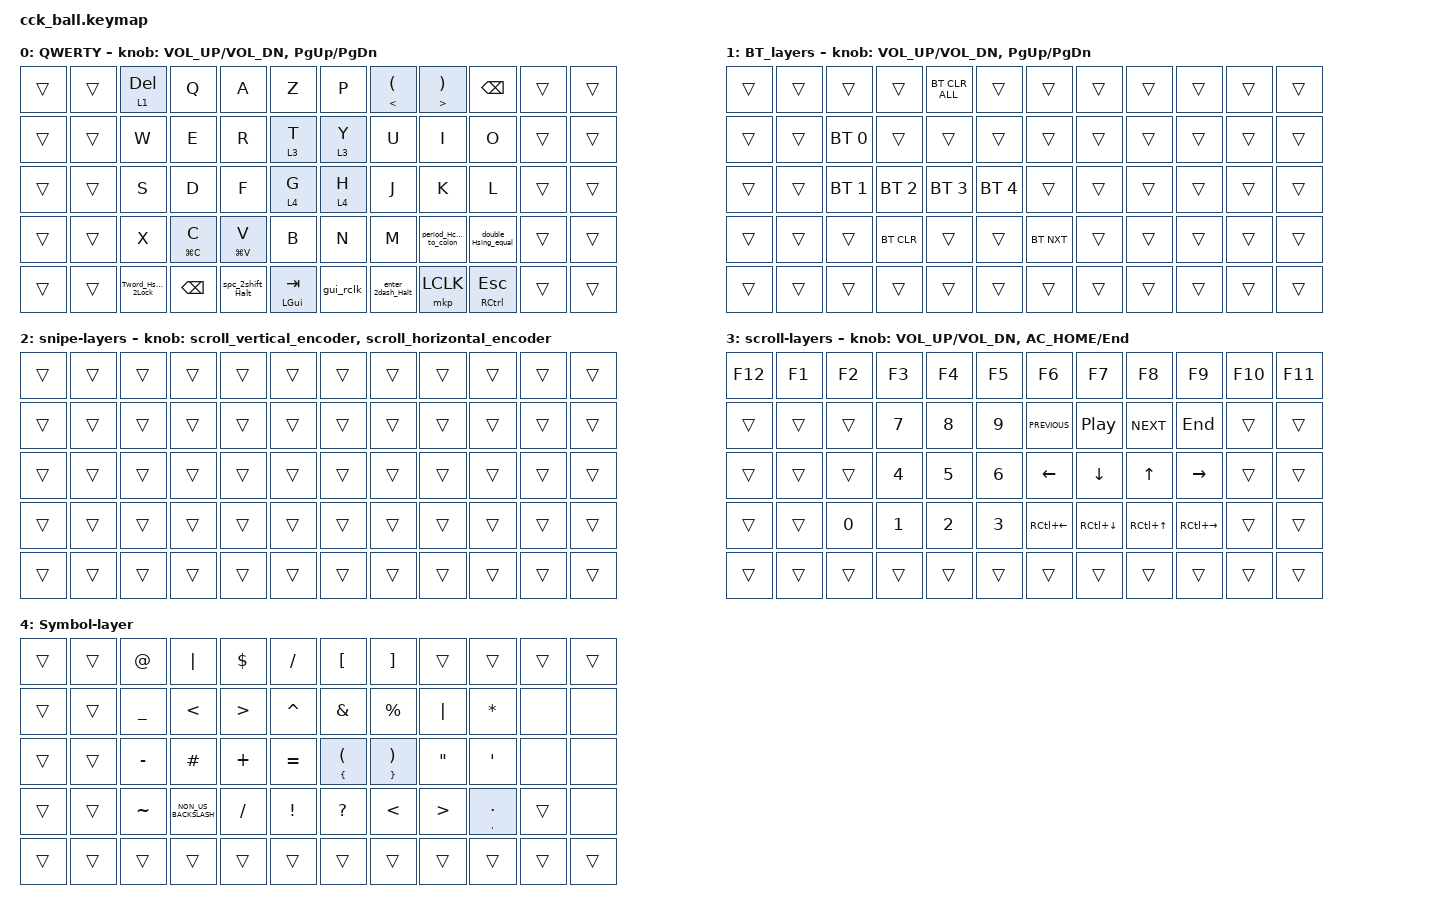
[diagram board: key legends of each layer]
#define ZMK_POINTING_DEFAULT_MOVE_VAL 1000 // 600
#define ZMK_POINTING_DEFAULT_SCRL_VAL 12   // 10

#include <input/processors.dtsi>
#include <zephyr/dt-bindings/input/input-event-codes.h>
#include <behaviors.dtsi>
#include <dt-bindings/zmk/bt.h>
#include <dt-bindings/zmk/keys.h>
#include <dt-bindings/zmk/pointing.h>

&mmv_input_listener { input-processors = <&zip_xy_scaler 2 1>; };

&msc_input_listener { input-processors = <&zip_scroll_scaler 2 1>; };

&msc {
    acceleration-exponent = <0>;      // 0
    time-to-max-speed-ms = <300>;       // 300
    delay-ms = <0>;                   // 0
};

&mmv {
    time-to-max-speed-ms = <500>;
    acceleration-exponent = <1>;
    trigger-period-ms = <16>;
};

&soft_off { hold-time-ms = <2000>; };

/ {
    // 上下滚动编码器行为

    scroll_vertical_encoder: scroll_vertical_encoder {
        compatible = "zmk,behavior-sensor-rotate";
        #sensor-binding-cells = <0>;
        bindings = <&msc SCRL_DOWN>, <&msc SCRL_UP>;

        tap-ms = <100>;
    };

    // 左右滚动编码器行为

    scroll_horizontal_encoder: scroll_horizontal_encoder {
        compatible = "zmk,behavior-sensor-rotate";
        #sensor-binding-cells = <0>;
        bindings = <&msc SCRL_LEFT>, <&msc SCRL_RIGHT>;

        tap-ms = <100>;
    };

    spc_2shift_Halt: spc_2shift_alt {
        compatible = "zmk,behavior-tap-dance";
        label = "Space to 2t:underscore or h:alt";
        #binding-cells = <0>;
        bindings = <&mt LEFT_ALT SPACE>, <&kp UNDER>;
    };

    period_Hcomma_to_colon: period_Hcomma_to_colon {
        compatible = "zmk,behavior-tap-dance";
        label = "PERIOD_HCOMMA_TO_COLON";
        #binding-cells = <0>;
        bindings = <&mt COMMA PERIOD>, <&kp COLON>;
    };

    enter_2dash_Halt: enter_2dash_Halt {
        compatible = "zmk,behavior-tap-dance";
        label = "ENTER_2DASH_HALT";
        #binding-cells = <0>;
        bindings = <&mt RIGHT_ALT ENTER>, <&kp MINUS>;
    };

    gui_rclk: gui_rclk {
        compatible = "zmk,behavior-tap-dance";
        label = "GUI_RCLK";
        #binding-cells = <0>;
        bindings = <&kp RIGHT_GUI>, <&mkp RCLK>;
    };

    double_Hsing_equal: double_Hsing_equal {
        compatible = "zmk,behavior-tap-dance";
        label = "DOUBLE_HSING_EQUAL";
        #binding-cells = <0>;
        bindings = <&mt EQUAL SINGLE_QUOTE>, <&kp DOUBLE_QUOTES>;
    };

    Tword_Hshift_2Lock: Tword_Hshift_2Lock {
        compatible = "zmk,behavior-tap-dance";
        label = "TWORD_HSHIFT_2LOCK";
        #binding-cells = <0>;
        bindings = <&mt LEFT_SHIFT CLCK>, <&caps_word>;
    };

    behaviors {
    };

    combos {
        compatible = "zmk,combos";

        Left_RCLK {
            bindings = <&mkp RCLK>;
            key-positions = <26 27>;
        };

        Left_LCLK {
            bindings = <&mkp LCLK>;
            key-positions = <28 29>;
        };

        Right_RCLK {
            bindings = <&mkp RCLK>;
            key-positions = <32 33>;
        };

        Right_LCLK {
            bindings = <&mkp LCLK>;
            key-positions = <31 30>;
        };

        Right_Enter {
            bindings = <&kp ENTER>;
            key-positions = <31 32>;
        };

        Left_enter {
            bindings = <&kp ENTER>;
            key-positions = <27 28>;
        };

        Left_Shift {
            bindings = <&kp LEFT_SHIFT>;
            key-positions = <40 41>;
        };

        Right_Shift {
            bindings = <&kp LEFT_SHIFT>;
            key-positions = <43 42>;
        };

        Cap_Word {
            bindings = <&caps_word>;
            key-positions = <40 39>;
        };

        Cap_Lock {
            bindings = <&kp CAPS>;
            key-positions = <43 44>;
        };
    };

    keymap {
        compatible = "zmk,keymap";

        QWERTY {
            bindings = <
&trans  &trans  &lt 1 DEL            &kp Q          &kp A             &kp Z             &kp P      &mt LESS_THAN LEFT_PARENTHESIS  &mt GREATER_THAN RIGHT_PARENTHESIS  &kp BACKSPACE        &trans  &trans
&trans  &trans  &kp W                &kp E          &kp R             &lt 3 T           &lt 3 Y    &kp U                           &kp I                               &kp O                &trans  &trans
&trans  &trans  &kp S                &kp D          &kp F             &lt 4 G           &lt 4 H    &kp J                           &kp K                               &kp L                &trans  &trans
&trans  &trans  &kp X                &mt LG(C) C    &mt LG(V) V       &kp B             &kp N      &kp M                           &period_Hcomma_to_colon             &double_Hsing_equal  &trans  &trans
&trans  &trans  &Tword_Hshift_2Lock  &kp BACKSPACE  &spc_2shift_Halt  &mt LEFT_GUI TAB  &gui_rclk  &enter_2dash_Halt               &mkp LCLK                           &mt RCTRL ESCAPE     &trans  &trans
            >;

            sensor-bindings = <&inc_dec_kp C_VOL_UP C_VOL_DN &inc_dec_kp PG_UP PG_DN>;
        };

        BT_layers {
            bindings = <
&trans  &trans  &trans        &trans        &bt BT_CLR_ALL  &trans        &trans      &trans  &trans  &trans  &trans  &trans
&trans  &trans  &bt BT_SEL 0  &trans        &trans          &trans        &trans      &trans  &trans  &trans  &trans  &trans
&trans  &trans  &bt BT_SEL 1  &bt BT_SEL 2  &bt BT_SEL 3    &bt BT_SEL 4  &trans      &trans  &trans  &trans  &trans  &trans
&trans  &trans  &trans        &bt BT_CLR    &trans          &trans        &bt BT_NXT  &trans  &trans  &trans  &trans  &trans
&trans  &trans  &trans        &trans        &trans          &trans        &trans      &trans  &trans  &trans  &trans  &trans
            >;

            sensor-bindings = <&inc_dec_kp C_VOL_UP C_VOL_DN &inc_dec_kp PG_UP PG_DN>;
        };

        snipe-layers {
            bindings = <
&trans  &trans  &trans  &trans  &trans  &trans  &trans  &trans  &trans  &trans  &trans  &trans
&trans  &trans  &trans  &trans  &trans  &trans  &trans  &trans  &trans  &trans  &trans  &trans
&trans  &trans  &trans  &trans  &trans  &trans  &trans  &trans  &trans  &trans  &trans  &trans
&trans  &trans  &trans  &trans  &trans  &trans  &trans  &trans  &trans  &trans  &trans  &trans
&trans  &trans  &trans  &trans  &trans  &trans  &trans  &trans  &trans  &trans  &trans  &trans
            >;

            sensor-bindings =
                <&scroll_vertical_encoder>,
                // 编码器1：上下滚动,,,,,,,,,,,,,,,,,,,,,,,,,,,,,,,,,,,,,,,,,,,,,,,,,,,,,
                <&scroll_horizontal_encoder>;

            // 编码器2：左右滚动
        };

        scroll-layers {
            bindings = <
&kp F12  &kp F1  &kp F2  &kp F3  &kp F4  &kp F5  &kp F6          &kp F7              &kp F8            &kp F9         &kp F10  &kp F11
&trans   &trans  &trans  &kp N7  &kp N8  &kp N9  &kp C_PREVIOUS  &kp C_PLAY_PAUSE    &kp C_NEXT        &kp END        &trans   &trans
&trans   &trans  &trans  &kp N4  &kp N5  &kp N6  &kp LEFT        &kp DOWN            &kp UP_ARROW      &kp RIGHT      &trans   &trans
&trans   &trans  &kp N0  &kp N1  &kp N2  &kp N3  &kp RC(LEFT)    &kp RC(DOWN_ARROW)  &kp RC(UP_ARROW)  &kp RC(RIGHT)  &trans   &trans
&trans   &trans  &trans  &trans  &trans  &trans  &trans          &trans              &trans            &trans         &trans   &trans
            >;

            sensor-bindings =
                <&inc_dec_kp C_VOL_UP C_VOL_DN>,
                <&inc_dec_kp C_AC_HOME END>;
        };

        Symbol-layer {
            bindings = <
&trans  &trans  &kp AT_SIGN     &kp PIPE              &kp DOLLAR        &kp SLASH  &kp LEFT_BRACKET                 &kp RIGHT_BRACKET                  &trans             &trans            &trans  &trans
&trans  &trans  &kp UNDERSCORE  &kp LESS_THAN         &kp GREATER_THAN  &kp CARET  &kp AMPERSAND                    &kp PERCENT                        &kp PIPE           &kp ASTERISK      &none   &none
&trans  &trans  &kp MINUS       &kp HASH              &kp PLUS          &kp EQUAL  &mt LEFT_BRACE LEFT_PARENTHESIS  &mt RIGHT_BRACE RIGHT_PARENTHESIS  &kp DOUBLE_QUOTES  &kp SINGLE_QUOTE  &none   &none
&trans  &trans  &kp TILDE       &kp NON_US_BACKSLASH  &kp SLASH         &kp EXCL   &kp QMARK                        &kp LESS_THAN                      &kp GREATER_THAN   &mt COMMA PERIOD  &trans  &none
&trans  &trans  &trans          &trans                &trans            &trans     &trans                           &trans                             &trans             &trans            &trans  &trans
            >;
        };
    };
};
